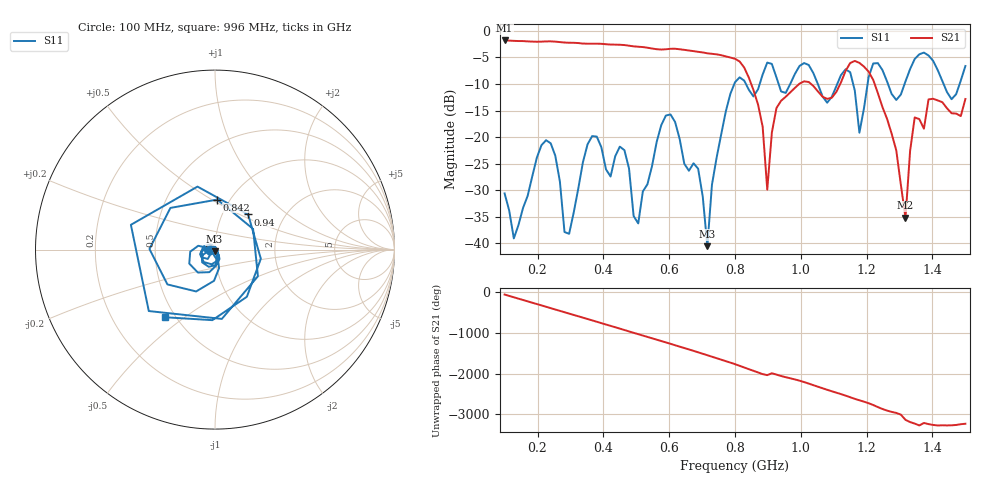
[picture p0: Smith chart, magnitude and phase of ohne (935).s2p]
! NanoVNA-App
! Date: 2025-09-25 14:28:04
! Start: 100MHz Stop: 1,5GHz Points: 101
! S-Parameter data: F S11 S21 S12 S22
# Hz S RI R 50
!  Frequency  S11_Real  S11_Imag  S21_Real  S21_Imag  S12_Real  S12_Imag  S22_Real  S22_Imag
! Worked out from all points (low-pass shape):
!   101 points, 100 MHz to 1.5 GHz, reference 50 ohm
!   highest |S21| = -1.79 dB at 100 MHz (marker M1); lowest = -35.2 dB at 1.318 GHz (marker M2)
!   |S21| within 3 dB of the highest: start of sweep to 771.7 MHz
!   lowest |S11| = -40.6 dB at 716 MHz (marker M3), VSWR 1.02, Z = 49.7 - j0.895 ohm
!   |S11| at or under -10 dB: start of sweep to 797.9 MHz; 833.1 MHz to 875.1 MHz (41.93 MHz wide, 4.91 % of centre); 1.052 GHz to 1.111 GHz (59.03 MHz wide, 5.46 % of centre) (the widest 3 of 7)
!   S12 and S22 are empty: the file has one direction only
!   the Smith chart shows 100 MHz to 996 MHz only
!   S11 on the Smith chart (normalised r, x): 100 MHz: 0.94, -0.01; 842 MHz: 0.88, +0.53; 940 MHz: 1.32, +0.56; 996 MHz: 0.44, -0.43
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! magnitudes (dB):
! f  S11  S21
! 100 MHz  -30.6  -1.8
! 128 MHz  -39.1  -1.9
! 226 MHz  -20.6  -2.0
! 296 MHz  -38.2  -2.2
! 338 MHz  -24.7  -2.4
! 464 MHz  -22.5  -2.7
! 506 MHz  -36.3  -3.0
! 576 MHz  -17.8  -3.5
! 688 MHz  -26.0  -3.9
! 716 MHz  -40.6  -4.2
! 800 MHz  -9.7  -5.2
! 842 MHz  -11.1  -8.8
! 898 MHz  -6.0  -29.9
! 940 MHz  -11.4  -13.2
! 996 MHz  -6.6  -9.9
! 1.038 GHz  -7.9  -10.4
! 1.178 GHz  -19.2  -6.0
! 1.22 GHz  -6.1  -9.2
! 1.276 GHz  -11.9  -19.4
! 1.318 GHz  -9.5  -35.2
! 1.346 GHz  -5.3  -16.3
! 1.5 GHz  -6.6  -12.8
